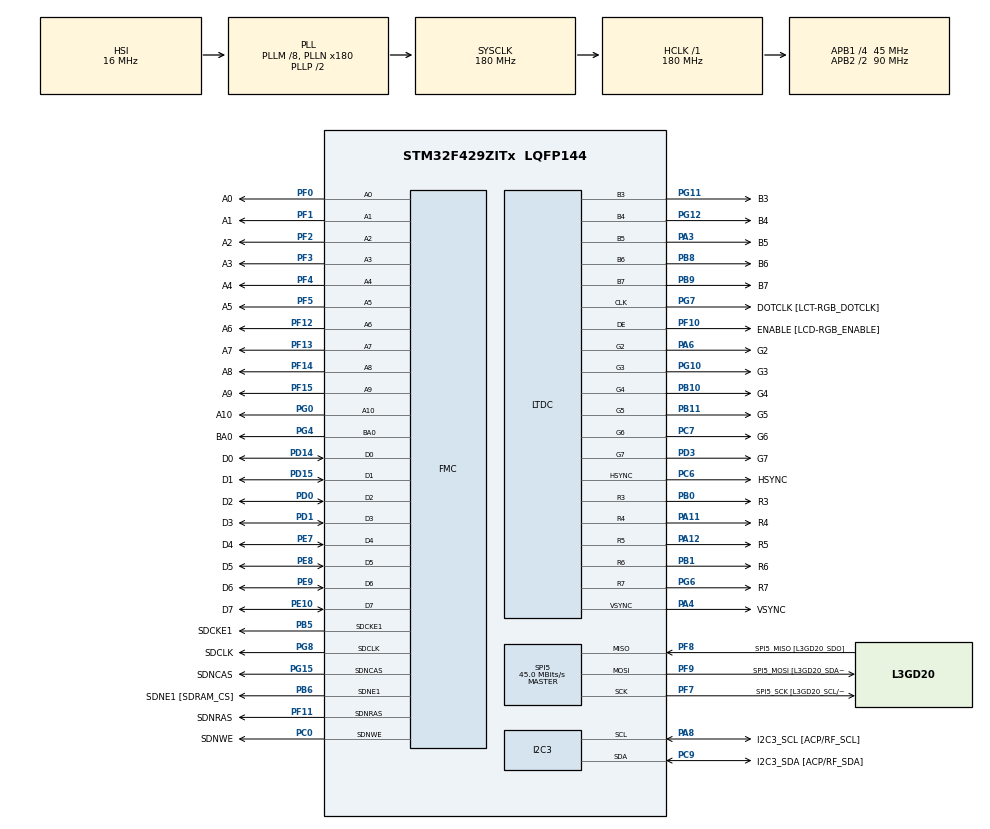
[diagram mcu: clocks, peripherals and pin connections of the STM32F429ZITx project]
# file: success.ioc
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DMA2D.ColorMode=DMA2D_OUTPUT_RGB565
LTDC.ActiveH=240
LTDC.ActiveW=320
Mcu.Family=STM32F4
Mcu.Name=STM32F429ZITx
Mcu.Package=LQFP144
NVIC.PriorityGroup=NVIC_PRIORITYGROUP_0
PA10.GPIO_Label=STLINK_TX [STM32F103CBT6_PA2]
PA10.Signal=USART1_RX
PA11.GPIO_Label=R4
PA11.GPIO_Mode=GPIO_MODE_AF_PP
PA11.GPIO_PuPd=GPIO_NOPULL
PA11.GPIO_Speed=GPIO_SPEED_FREQ_LOW
PA11.Mode=RGB565
PA11.Signal=LTDC_R4
PA12.GPIO_Label=R5
PA12.GPIO_Mode=GPIO_MODE_AF_PP
PA12.GPIO_PuPd=GPIO_NOPULL
PA12.GPIO_Speed=GPIO_SPEED_FREQ_LOW
PA12.Mode=RGB565
PA12.Signal=LTDC_R5
PA13.GPIO_Label=SWDIO
PA13.Signal=SYS_JTMS-SWDIO
PA3.GPIO_Label=B5
PA3.GPIO_Mode=GPIO_MODE_AF_PP
PA3.GPIO_PuPd=GPIO_NOPULL
PA3.GPIO_Speed=GPIO_SPEED_FREQ_LOW
PA3.Mode=RGB565
PA3.Signal=LTDC_B5
PA4.GPIO_Label=VSYNC
PA4.GPIO_Mode=GPIO_MODE_AF_PP
PA4.GPIO_PuPd=GPIO_NOPULL
PA4.GPIO_Speed=GPIO_SPEED_FREQ_LOW
PA4.Mode=RGB565
PA4.Signal=LTDC_VSYNC
PA6.GPIO_Label=G2
PA6.GPIO_Mode=GPIO_MODE_AF_PP
PA6.GPIO_PuPd=GPIO_NOPULL
PA6.GPIO_Speed=GPIO_SPEED_FREQ_LOW
PA6.Mode=RGB565
PA6.Signal=LTDC_G2
PA8.GPIO_Label=I2C3_SCL [ACP/RF_SCL]
PA8.GPIO_Mode=GPIO_MODE_AF_OD
PA8.GPIO_PuPd=GPIO_NOPULL
PA8.GPIO_Speed=GPIO_SPEED_FREQ_LOW
PA8.Mode=I2C
PA8.Signal=I2C3_SCL
PA9.GPIO_Label=STLINK_RX [STM32F103CBT6_PA3]
PA9.Signal=USART1_TX
PB0.GPIO_Label=R3
PB0.GPIO_Mode=GPIO_MODE_AF_PP
PB0.GPIO_PuPd=GPIO_NOPULL
PB0.GPIO_Speed=GPIO_SPEED_FREQ_LOW
PB0.Mode=RGB565
PB0.Signal=LTDC_R3
PB1.GPIO_Label=R6
PB1.GPIO_Mode=GPIO_MODE_AF_PP
PB1.GPIO_PuPd=GPIO_NOPULL
PB1.GPIO_Speed=GPIO_SPEED_FREQ_LOW
PB1.Mode=RGB565
PB1.Signal=LTDC_R6
PB10.GPIO_Label=G4
PB10.GPIO_Mode=GPIO_MODE_AF_PP
PB10.GPIO_PuPd=GPIO_NOPULL
PB10.GPIO_Speed=GPIO_SPEED_FREQ_LOW
PB10.Mode=RGB565
PB10.Signal=LTDC_G4
PB11.GPIO_Label=G5
PB11.GPIO_Mode=GPIO_MODE_AF_PP
PB11.GPIO_PuPd=GPIO_NOPULL
PB11.GPIO_Speed=GPIO_SPEED_FREQ_LOW
PB11.Mode=RGB565
PB11.Signal=LTDC_G5
PB5.GPIO_Label=SDCKE1
PB5.GPIO_Mode=GPIO_MODE_AF_PP
PB5.GPIO_PuPd=GPIO_NOPULL
PB5.GPIO_Speed=GPIO_SPEED_FREQ_VERY_HIGH
PB5.Mode=SdramChipSelect2_1
PB5.Signal=FMC_SDCKE1
PB6.GPIO_Label=SDNE1 [SDRAM_CS]
PB6.GPIO_Mode=GPIO_MODE_AF_PP
PB6.GPIO_PuPd=GPIO_NOPULL
PB6.GPIO_Speed=GPIO_SPEED_FREQ_VERY_HIGH
PB6.Mode=SdramChipSelect2_1
PB6.Signal=FMC_SDNE1
PB8.GPIO_Label=B6
PB8.GPIO_Mode=GPIO_MODE_AF_PP
PB8.GPIO_PuPd=GPIO_NOPULL
PB8.GPIO_Speed=GPIO_SPEED_FREQ_LOW
PB8.Mode=RGB565
PB8.Signal=LTDC_B6
PB9.GPIO_Label=B7
PB9.GPIO_Mode=GPIO_MODE_AF_PP
PB9.GPIO_PuPd=GPIO_NOPULL
PB9.GPIO_Speed=GPIO_SPEED_FREQ_LOW
PB9.Mode=RGB565
PB9.Signal=LTDC_B7
PC0.GPIO_Label=SDNWE
PC0.GPIO_Mode=GPIO_MODE_AF_PP
PC0.GPIO_PuPd=GPIO_NOPULL
PC0.GPIO_Speed=GPIO_SPEED_FREQ_VERY_HIGH
PC0.Signal=FMC_SDNWE
PC6.GPIO_Label=HSYNC
PC6.GPIO_Mode=GPIO_MODE_AF_PP
PC6.GPIO_PuPd=GPIO_NOPULL
PC6.GPIO_Speed=GPIO_SPEED_FREQ_LOW
PC6.Mode=RGB565
PC6.Signal=LTDC_HSYNC
PC7.GPIO_Label=G6
PC7.GPIO_Mode=GPIO_MODE_AF_PP
PC7.GPIO_PuPd=GPIO_NOPULL
PC7.GPIO_Speed=GPIO_SPEED_FREQ_LOW
PC7.Mode=RGB565
PC7.Signal=LTDC_G6
PC9.GPIO_Label=I2C3_SDA [ACP/RF_SDA]
PC9.GPIO_Mode=GPIO_MODE_AF_OD
PC9.GPIO_PuPd=GPIO_NOPULL
PC9.GPIO_Speed=GPIO_SPEED_FREQ_LOW
PC9.Mode=I2C
PC9.Signal=I2C3_SDA
PD0.GPIO_Label=D2
PD0.GPIO_Mode=GPIO_MODE_AF_PP
PD0.GPIO_PuPd=GPIO_NOPULL
PD0.GPIO_Speed=GPIO_SPEED_FREQ_VERY_HIGH
PD0.Signal=FMC_D2_DA2
PD1.GPIO_Label=D3
PD1.GPIO_Mode=GPIO_MODE_AF_PP
PD1.GPIO_PuPd=GPIO_NOPULL
PD1.GPIO_Speed=GPIO_SPEED_FREQ_VERY_HIGH
PD1.Signal=FMC_D3_DA3
PD14.GPIO_Label=D0
PD14.GPIO_Mode=GPIO_MODE_AF_PP
PD14.GPIO_PuPd=GPIO_NOPULL
PD14.GPIO_Speed=GPIO_SPEED_FREQ_VERY_HIGH
PD14.Signal=FMC_D0_DA0
PD15.GPIO_Label=D1
PD15.GPIO_Mode=GPIO_MODE_AF_PP
PD15.GPIO_PuPd=GPIO_NOPULL
PD15.GPIO_Speed=GPIO_SPEED_FREQ_VERY_HIGH
PD15.Signal=FMC_D1_DA1
PD3.GPIO_Label=G7
PD3.GPIO_Mode=GPIO_MODE_AF_PP
PD3.GPIO_PuPd=GPIO_NOPULL
PD3.GPIO_Speed=GPIO_SPEED_FREQ_LOW
PD3.Mode=RGB565
PD3.Signal=LTDC_G7
PE10.GPIO_Label=D7
PE10.GPIO_Mode=GPIO_MODE_AF_PP
PE10.GPIO_PuPd=GPIO_NOPULL
PE10.GPIO_Speed=GPIO_SPEED_FREQ_VERY_HIGH
PE10.Signal=FMC_D7_DA7
PE7.GPIO_Label=D4
PE7.GPIO_Mode=GPIO_MODE_AF_PP
PE7.GPIO_PuPd=GPIO_NOPULL
PE7.GPIO_Speed=GPIO_SPEED_FREQ_VERY_HIGH
PE7.Signal=FMC_D4_DA4
PE8.GPIO_Label=D5
PE8.GPIO_Mode=GPIO_MODE_AF_PP
PE8.GPIO_PuPd=GPIO_NOPULL
PE8.GPIO_Speed=GPIO_SPEED_FREQ_VERY_HIGH
PE8.Signal=FMC_D5_DA5
PE9.GPIO_Label=D6
PE9.GPIO_Mode=GPIO_MODE_AF_PP
PE9.GPIO_PuPd=GPIO_NOPULL
PE9.GPIO_Speed=GPIO_SPEED_FREQ_VERY_HIGH
PE9.Signal=FMC_D6_DA6
PF0.GPIO_Label=A0
PF0.GPIO_Mode=GPIO_MODE_AF_PP
PF0.GPIO_PuPd=GPIO_NOPULL
PF0.GPIO_Speed=GPIO_SPEED_FREQ_VERY_HIGH
PF0.Signal=FMC_A0
PF1.GPIO_Label=A1
PF1.GPIO_Mode=GPIO_MODE_AF_PP
PF1.GPIO_PuPd=GPIO_NOPULL
PF1.GPIO_Speed=GPIO_SPEED_FREQ_VERY_HIGH
PF1.Signal=FMC_A1
PF10.GPIO_Label=ENABLE [LCD-RGB_ENABLE]
PF10.GPIO_Mode=GPIO_MODE_AF_PP
PF10.GPIO_PuPd=GPIO_NOPULL
PF10.GPIO_Speed=GPIO_SPEED_FREQ_LOW
PF10.Mode=RGB565
PF10.Signal=LTDC_DE
PF11.GPIO_Label=SDNRAS
PF11.GPIO_Mode=GPIO_MODE_AF_PP
PF11.GPIO_PuPd=GPIO_NOPULL
PF11.GPIO_Speed=GPIO_SPEED_FREQ_VERY_HIGH
PF11.Signal=FMC_SDNRAS
PF12.GPIO_Label=A6
PF12.GPIO_Mode=GPIO_MODE_AF_PP
PF12.GPIO_PuPd=GPIO_NOPULL
PF12.GPIO_Speed=GPIO_SPEED_FREQ_VERY_HIGH
PF12.Signal=FMC_A6
PF13.GPIO_Label=A7
PF13.GPIO_Mode=GPIO_MODE_AF_PP
PF13.GPIO_PuPd=GPIO_NOPULL
PF13.GPIO_Speed=GPIO_SPEED_FREQ_VERY_HIGH
PF13.Signal=FMC_A7
PF14.GPIO_Label=A8
PF14.GPIO_Mode=GPIO_MODE_AF_PP
PF14.GPIO_PuPd=GPIO_NOPULL
PF14.GPIO_Speed=GPIO_SPEED_FREQ_VERY_HIGH
PF14.Signal=FMC_A8
PF15.GPIO_Label=A9
PF15.GPIO_Mode=GPIO_MODE_AF_PP
PF15.GPIO_PuPd=GPIO_NOPULL
PF15.GPIO_Speed=GPIO_SPEED_FREQ_VERY_HIGH
PF15.Signal=FMC_A9
PF2.GPIO_Label=A2
PF2.GPIO_Mode=GPIO_MODE_AF_PP
PF2.GPIO_PuPd=GPIO_NOPULL
PF2.GPIO_Speed=GPIO_SPEED_FREQ_VERY_HIGH
PF2.Signal=FMC_A2
PF3.GPIO_Label=A3
PF3.GPIO_Mode=GPIO_MODE_AF_PP
PF3.GPIO_PuPd=GPIO_NOPULL
PF3.GPIO_Speed=GPIO_SPEED_FREQ_VERY_HIGH
PF3.Signal=FMC_A3
PF4.GPIO_Label=A4
PF4.GPIO_Mode=GPIO_MODE_AF_PP
PF4.GPIO_PuPd=GPIO_NOPULL
PF4.GPIO_Speed=GPIO_SPEED_FREQ_VERY_HIGH
PF4.Signal=FMC_A4
PF5.GPIO_Label=A5
PF5.GPIO_Mode=GPIO_MODE_AF_PP
PF5.GPIO_PuPd=GPIO_NOPULL
PF5.GPIO_Speed=GPIO_SPEED_FREQ_VERY_HIGH
PF5.Signal=FMC_A5
PF7.GPIO_Label=SPI5_SCK [L3GD20_SCL/SPC]
PF7.GPIO_Mode=GPIO_MODE_AF_PP
PF7.GPIO_PuPd=GPIO_NOPULL
PF7.GPIO_Speed=GPIO_SPEED_FREQ_LOW
PF7.Mode=Full_Duplex_Master
PF7.Signal=SPI5_SCK
PF8.GPIO_Label=SPI5_MISO [L3GD20_SDO]
PF8.GPIO_Mode=GPIO_MODE_AF_PP
PF8.GPIO_PuPd=GPIO_NOPULL
PF8.GPIO_Speed=GPIO_SPEED_FREQ_LOW
PF8.Mode=Full_Duplex_Master
PF8.Signal=SPI5_MISO
PF9.GPIO_Label=SPI5_MOSI [L3GD20_SDA/SDI/SDO]
PF9.GPIO_Mode=GPIO_MODE_AF_PP
PF9.GPIO_PuPd=GPIO_NOPULL
PF9.GPIO_Speed=GPIO_SPEED_FREQ_LOW
PF9.Mode=Full_Duplex_Master
PF9.Signal=SPI5_MOSI
PG0.GPIO_Label=A10
PG0.GPIO_Mode=GPIO_MODE_AF_PP
PG0.GPIO_PuPd=GPIO_NOPULL
PG0.GPIO_Speed=GPIO_SPEED_FREQ_VERY_HIGH
PG0.Signal=FMC_A10
PG10.GPIO_Label=G3
PG10.GPIO_Mode=GPIO_MODE_AF_PP
PG10.GPIO_PuPd=GPIO_NOPULL
PG10.GPIO_Speed=GPIO_SPEED_FREQ_LOW
PG10.Mode=RGB565
PG10.Signal=LTDC_G3
PG11.GPIO_Label=B3
PG11.GPIO_Mode=GPIO_MODE_AF_PP
PG11.GPIO_PuPd=GPIO_NOPULL
PG11.GPIO_Speed=GPIO_SPEED_FREQ_LOW
PG11.Mode=RGB565
PG11.Signal=LTDC_B3
PG12.GPIO_Label=B4
PG12.GPIO_Mode=GPIO_MODE_AF_PP
PG12.GPIO_PuPd=GPIO_NOPULL
PG12.GPIO_Speed=GPIO_SPEED_FREQ_LOW
PG12.Mode=RGB565
PG12.Signal=LTDC_B4
PG15.GPIO_Label=SDNCAS
PG15.GPIO_Mode=GPIO_MODE_AF_PP
PG15.GPIO_PuPd=GPIO_NOPULL
PG15.GPIO_Speed=GPIO_SPEED_FREQ_VERY_HIGH
PG15.Signal=FMC_SDNCAS
PG4.GPIO_Label=BA0
PG4.GPIO_Mode=GPIO_MODE_AF_PP
PG4.GPIO_PuPd=GPIO_NOPULL
PG4.GPIO_Speed=GPIO_SPEED_FREQ_VERY_HIGH
PG4.Signal=FMC_A14_BA0
PG6.GPIO_Label=R7
PG6.GPIO_Mode=GPIO_MODE_AF_PP
PG6.GPIO_PuPd=GPIO_NOPULL
PG6.GPIO_Speed=GPIO_SPEED_FREQ_LOW
PG6.Mode=RGB565
PG6.Signal=LTDC_R7
PG7.GPIO_Label=DOTCLK [LCT-RGB_DOTCLK]
PG7.GPIO_Mode=GPIO_MODE_AF_PP
PG7.GPIO_PuPd=GPIO_NOPULL
PG7.GPIO_Speed=GPIO_SPEED_FREQ_LOW
PG7.Mode=RGB565
PG7.Signal=LTDC_CLK
PG8.GPIO_Label=SDCLK
PG8.GPIO_Mode=GPIO_MODE_AF_PP
PG8.GPIO_PuPd=GPIO_NOPULL
PG8.GPIO_Speed=GPIO_SPEED_FREQ_VERY_HIGH
PG8.Signal=FMC_SDCLK
ProjectManager.HeapSize=0x200
ProjectManager.StackSize=0x400
ProjectManager.TargetToolchain=STM32CubeIDE
RCC.48MHZClocksFreq_Value=51428571.428571425
RCC.AHBFreq_Value=180000000
RCC.APB1CLKDivider=RCC_HCLK_DIV4
RCC.APB1Freq_Value=45000000
RCC.APB1TimFreq_Value=90000000
RCC.APB2CLKDivider=RCC_HCLK_DIV2
RCC.APB2Freq_Value=90000000
RCC.APB2TimFreq_Value=180000000
RCC.CortexFreq_Value=180000000
RCC.HCLKFreq_Value=180000000
RCC.HSE_VALUE=8000000
RCC.HSI_VALUE=16000000
RCC.LSE_VALUE=32768
RCC.PLLM=8
RCC.PLLN=180
RCC.PLLQ=7
RCC.PLLSAIN=50
RCC.PLLSAIR=4
RCC.SYSCLKFreq_VALUE=180000000
RCC.SYSCLKSource=RCC_SYSCLKSOURCE_PLLCLK
RCC.VCOOutputFreq_Value=360000000
SH.FMC_A0.0=FMC_A0,11b-sda1
SH.FMC_A1.0=FMC_A1,11b-sda1
SH.FMC_A10.0=FMC_A10,11b-sda1
SH.FMC_A14_BA0.0=FMC_BA0,TwoSdramBanks1
SH.FMC_A2.0=FMC_A2,11b-sda1
SH.FMC_A3.0=FMC_A3,11b-sda1
SH.FMC_A4.0=FMC_A4,11b-sda1
SH.FMC_A5.0=FMC_A5,11b-sda1
SH.FMC_A6.0=FMC_A6,11b-sda1
SH.FMC_A7.0=FMC_A7,11b-sda1
SH.FMC_A8.0=FMC_A8,11b-sda1
SH.FMC_A9.0=FMC_A9,11b-sda1
SH.FMC_D0_DA0.0=FMC_D0,sd-8b-d1
SH.FMC_D1_DA1.0=FMC_D1,sd-8b-d1
SH.FMC_D2_DA2.0=FMC_D2,sd-8b-d1
SH.FMC_D3_DA3.0=FMC_D3,sd-8b-d1
SH.FMC_D4_DA4.0=FMC_D4,sd-8b-d1
SH.FMC_D5_DA5.0=FMC_D5,sd-8b-d1
SH.FMC_D6_DA6.0=FMC_D6,sd-8b-d1
SH.FMC_D7_DA7.0=FMC_D7,sd-8b-d1
SH.FMC_SDCLK.0=FMC_SDCLK,11b-sda1
SH.FMC_SDNCAS.0=FMC_SDNCAS,11b-sda1
SH.FMC_SDNRAS.0=FMC_SDNRAS,11b-sda1
SH.FMC_SDNWE.0=FMC_SDNWE,11b-sda1
SPI5.BaudRatePrescaler=SPI_BAUDRATEPRESCALER_2
SPI5.CalculateBaudRate=45.0 MBits/s
SPI5.Direction=SPI_DIRECTION_2LINES
SPI5.Mode=SPI_MODE_MASTER
SPI5.VirtualType=VM_MASTER
VP_DMA2D_VS_DMA2D.Mode=DMA2D_Activate
board=STM32F429I-DISC1

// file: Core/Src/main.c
/* USER CODE BEGIN Header */
/**
  ******************************************************************************
  * @file           : main.c
  * @brief          : Main program body
  ******************************************************************************
  * @attention
  *
  * Copyright (c) 2023 STMicroelectronics.
  * All rights reserved.
  *
  * This software is licensed under terms that can be found in the LICENSE file
  * in the root directory of this software component.
  * If no LICENSE file comes with this software, it is provided AS-IS.
  *
  ******************************************************************************
  */
/* USER CODE END Header */
#include "main.h"

/* USER CODE BEGIN Includes */
#include "lcd.h"
#include "stm32f429i_discovery_lcd.h"

/* USER CODE END Includes */

DMA2D_HandleTypeDef hdma2d;

I2C_HandleTypeDef hi2c3;

LTDC_HandleTypeDef hltdc;

SPI_HandleTypeDef hspi5;

SDRAM_HandleTypeDef hsdram1;

void SystemClock_Config(void);
static void MX_GPIO_Init(void);
static void MX_DMA2D_Init(void);
static void MX_I2C3_Init(void);
static void MX_LTDC_Init(void);
static void MX_SPI5_Init(void);
static void MX_FMC_Init(void);

int main(void)
{

  /* MCU Configuration--------------------------------------------------------*/

  /* Reset of all peripherals, Initializes the Flash interface and the Systick. */
  HAL_Init();

  /* Configure the system clock */
  SystemClock_Config();

  /* Initialize all configured peripherals */
  MX_GPIO_Init();
  MX_DMA2D_Init();
  MX_I2C3_Init();
  MX_LTDC_Init();
  MX_SPI5_Init();
  MX_FMC_Init();
  /* USER CODE BEGIN 2 */

  //uint32_t x= BSP_LCD_GetXSize();
  //uint32_t y= BSP_LCD_GetYSize();
  //BSP_LCD_DrawRect(x/2, y/2, x/4,y/4 );

  LCD_Init();

  MDL_LCD_Bttn_Pressed(START);

  MDL_LCD_Hit_Update(200);

  MDL_LCD_Bttn_Pressed(PLUS);
  //MDL_LCD_Bttn_Pressed(PLUS);
  for(int i=0; i<2; i++){
	  if(i==1) MDL_LCD_Bttn_Pressed(PLUS);
	  if(i==2) MDL_LCD_Bttn_Pressed(PLUS);
	  MDL_LCD_Hit_Update(200);
	  MDL_LCD_Bttn_Pressed(START);
	  MDL_LCD_Hit_Update(200);
	  HAL_Delay(1000);
	  MDL_LCD_Hit_Update(300);
	  HAL_Delay(1000);
	  MDL_LCD_Bttn_Pressed(TOCI);
	  HAL_Delay(1000);
	  MDL_LCD_Hit_Update(150);
	  HAL_Delay(1000);
	  MDL_LCD_Bttn_Pressed(TOCI);
	  HAL_Delay(1000);
	  MDL_LCD_Hit_Update(50);
	  HAL_Delay(1000);
	  MDL_LCD_Bttn_Pressed(TOCI);
	  MDL_LCD_Hit_Update(300);
	  HAL_Delay(1000);
	  MDL_LCD_Hit_Update(200);

  }

  /* USER CODE END 2 */

  /* Infinite loop */
  /* USER CODE BEGIN WHILE */
  while (1)
  {

	  //BSP_LCD_SetTextColor(LCD_COLOR_DARKGRAY);
	  //BSP_LCD_DisplayStringAtLine(1,(uint8_t *)"pliz");
	  //BSP_LCD_SetTextColor(LCD_COLOR_DARKGRAY);
	  //BSP_LCD_DisplayStringAtLine(5,(uint8_t *)"radi");
	  //HAL_Delay(1000);
	  //BSP_LCD_Clear(LCD_COLOR_MAGENTA);
	  //HAL_Delay(1000);

    /* USER CODE END WHILE */

  }
}

void SystemClock_Config(void)
{
  RCC_OscInitTypeDef RCC_OscInitStruct = {0};
  RCC_ClkInitTypeDef RCC_ClkInitStruct = {0};

  /** Configure the main internal regulator output voltage
  */
  __HAL_RCC_PWR_CLK_ENABLE();
  __HAL_PWR_VOLTAGESCALING_CONFIG(PWR_REGULATOR_VOLTAGE_SCALE1);
  /** Initializes the RCC Oscillators according to the specified parameters
  * in the RCC_OscInitTypeDef structure.
  */
  RCC_OscInitStruct.OscillatorType = RCC_OSCILLATORTYPE_HSI;
  RCC_OscInitStruct.HSIState = RCC_HSI_ON;
  RCC_OscInitStruct.HSICalibrationValue = RCC_HSICALIBRATION_DEFAULT;
  RCC_OscInitStruct.PLL.PLLState = RCC_PLL_ON;
  RCC_OscInitStruct.PLL.PLLSource = RCC_PLLSOURCE_HSI;
  RCC_OscInitStruct.PLL.PLLM = 8;
  RCC_OscInitStruct.PLL.PLLN = 180;
  RCC_OscInitStruct.PLL.PLLP = RCC_PLLP_DIV2;
  RCC_OscInitStruct.PLL.PLLQ = 7;
  if (HAL_RCC_OscConfig(&RCC_OscInitStruct) != HAL_OK)
  {
    Error_Handler();
  }
  /** Activate the Over-Drive mode
  */
  if (HAL_PWREx_EnableOverDrive() != HAL_OK)
  {
    Error_Handler();
  }
  /** Initializes the CPU, AHB and APB buses clocks
  */
  RCC_ClkInitStruct.ClockType = RCC_CLOCKTYPE_HCLK|RCC_CLOCKTYPE_SYSCLK
                              |RCC_CLOCKTYPE_PCLK1|RCC_CLOCKTYPE_PCLK2;
  RCC_ClkInitStruct.SYSCLKSource = RCC_SYSCLKSOURCE_PLLCLK;
  RCC_ClkInitStruct.AHBCLKDivider = RCC_SYSCLK_DIV1;
  RCC_ClkInitStruct.APB1CLKDivider = RCC_HCLK_DIV4;
  RCC_ClkInitStruct.APB2CLKDivider = RCC_HCLK_DIV2;

  if (HAL_RCC_ClockConfig(&RCC_ClkInitStruct, FLASH_LATENCY_5) != HAL_OK)
  {
    Error_Handler();
  }
}

static void MX_DMA2D_Init(void)
{

  hdma2d.Instance = DMA2D;
  hdma2d.Init.Mode = DMA2D_M2M;
  hdma2d.Init.ColorMode = DMA2D_OUTPUT_RGB565;
  hdma2d.Init.OutputOffset = 0;
  hdma2d.LayerCfg[1].InputOffset = 0;
  hdma2d.LayerCfg[1].InputColorMode = DMA2D_INPUT_RGB565;
  hdma2d.LayerCfg[1].AlphaMode = DMA2D_NO_MODIF_ALPHA;
  hdma2d.LayerCfg[1].InputAlpha = 0;
  if (HAL_DMA2D_Init(&hdma2d) != HAL_OK)
  {
    Error_Handler();
  }
  if (HAL_DMA2D_ConfigLayer(&hdma2d, 1) != HAL_OK)
  {
    Error_Handler();
  }

}

static void MX_I2C3_Init(void)
{

  hi2c3.Instance = I2C3;
  hi2c3.Init.ClockSpeed = 100000;
  hi2c3.Init.DutyCycle = I2C_DUTYCYCLE_2;
  hi2c3.Init.OwnAddress1 = 0;
  hi2c3.Init.AddressingMode = I2C_ADDRESSINGMODE_7BIT;
  hi2c3.Init.DualAddressMode = I2C_DUALADDRESS_DISABLE;
  hi2c3.Init.OwnAddress2 = 0;
  hi2c3.Init.GeneralCallMode = I2C_GENERALCALL_DISABLE;
  hi2c3.Init.NoStretchMode = I2C_NOSTRETCH_DISABLE;
  if (HAL_I2C_Init(&hi2c3) != HAL_OK)
  {
    Error_Handler();
  }
  /** Configure Analogue filter
  */
  if (HAL_I2CEx_ConfigAnalogFilter(&hi2c3, I2C_ANALOGFILTER_ENABLE) != HAL_OK)
  {
    Error_Handler();
  }
  /** Configure Digital filter
  */
  if (HAL_I2CEx_ConfigDigitalFilter(&hi2c3, 0) != HAL_OK)
  {
    Error_Handler();
  }

}

static void MX_LTDC_Init(void)
{

  LTDC_LayerCfgTypeDef pLayerCfg = {0};
  LTDC_LayerCfgTypeDef pLayerCfg1 = {0};

  hltdc.Instance = LTDC;
  hltdc.Init.HSPolarity = LTDC_HSPOLARITY_AL;
  hltdc.Init.VSPolarity = LTDC_VSPOLARITY_AL;
  hltdc.Init.DEPolarity = LTDC_DEPOLARITY_AL;
  hltdc.Init.PCPolarity = LTDC_PCPOLARITY_IPC;
  hltdc.Init.HorizontalSync = 7;
  hltdc.Init.VerticalSync = 3;
  hltdc.Init.AccumulatedHBP = 14;
  hltdc.Init.AccumulatedVBP = 5;
  hltdc.Init.AccumulatedActiveW = 334;
  hltdc.Init.AccumulatedActiveH = 245;
  hltdc.Init.TotalWidth = 340;
  hltdc.Init.TotalHeigh = 247;
  hltdc.Init.Backcolor.Blue = 0;
  hltdc.Init.Backcolor.Green = 0;
  hltdc.Init.Backcolor.Red = 0;
  if (HAL_LTDC_Init(&hltdc) != HAL_OK)
  {
    Error_Handler();
  }
  pLayerCfg.WindowX0 = 0;
  pLayerCfg.WindowX1 = 0;
  pLayerCfg.WindowY0 = 0;
  pLayerCfg.WindowY1 = 0;
  pLayerCfg.PixelFormat = LTDC_PIXEL_FORMAT_ARGB8888;
  pLayerCfg.Alpha = 0;
  pLayerCfg.Alpha0 = 0;
  pLayerCfg.BlendingFactor1 = LTDC_BLENDING_FACTOR1_CA;
  pLayerCfg.BlendingFactor2 = LTDC_BLENDING_FACTOR2_CA;
  pLayerCfg.FBStartAdress = 0;
  pLayerCfg.ImageWidth = 0;
  pLayerCfg.ImageHeight = 0;
  pLayerCfg.Backcolor.Blue = 0;
  pLayerCfg.Backcolor.Green = 0;
  pLayerCfg.Backcolor.Red = 0;
  if (HAL_LTDC_ConfigLayer(&hltdc, &pLayerCfg, 0) != HAL_OK)
  {
    Error_Handler();
  }
  pLayerCfg1.WindowX0 = 0;
  pLayerCfg1.WindowX1 = 0;
  pLayerCfg1.WindowY0 = 0;
  pLayerCfg1.WindowY1 = 0;
  pLayerCfg1.PixelFormat = LTDC_PIXEL_FORMAT_ARGB8888;
  pLayerCfg1.Alpha = 0;
  pLayerCfg1.Alpha0 = 0;
  pLayerCfg1.BlendingFactor1 = LTDC_BLENDING_FACTOR1_CA;
  pLayerCfg1.BlendingFactor2 = LTDC_BLENDING_FACTOR2_CA;
  pLayerCfg1.FBStartAdress = 0;
  pLayerCfg1.ImageWidth = 0;
  pLayerCfg1.ImageHeight = 0;
  pLayerCfg1.Backcolor.Blue = 0;
  pLayerCfg1.Backcolor.Green = 0;
  pLayerCfg1.Backcolor.Red = 0;
  if (HAL_LTDC_ConfigLayer(&hltdc, &pLayerCfg1, 1) != HAL_OK)
  {
    Error_Handler();
  }

}

static void MX_SPI5_Init(void)
{

  /* SPI5 parameter configuration*/
  hspi5.Instance = SPI5;
  hspi5.Init.Mode = SPI_MODE_MASTER;
  hspi5.Init.Direction = SPI_DIRECTION_2LINES;
  hspi5.Init.DataSize = SPI_DATASIZE_8BIT;
  hspi5.Init.CLKPolarity = SPI_POLARITY_LOW;
  hspi5.Init.CLKPhase = SPI_PHASE_1EDGE;
  hspi5.Init.NSS = SPI_NSS_SOFT;
  hspi5.Init.BaudRatePrescaler = SPI_BAUDRATEPRESCALER_2;
  hspi5.Init.FirstBit = SPI_FIRSTBIT_MSB;
  hspi5.Init.TIMode = SPI_TIMODE_DISABLE;
  hspi5.Init.CRCCalculation = SPI_CRCCALCULATION_DISABLE;
  hspi5.Init.CRCPolynomial = 10;
  if (HAL_SPI_Init(&hspi5) != HAL_OK)
  {
    Error_Handler();
  }

}

/* FMC initialization function */
static void MX_FMC_Init(void)
{

  FMC_SDRAM_TimingTypeDef SdramTiming = {0};

  /** Perform the SDRAM1 memory initialization sequence
  */
  hsdram1.Instance = FMC_SDRAM_DEVICE;
  /* hsdram1.Init */
  hsdram1.Init.SDBank = FMC_SDRAM_BANK2;
  hsdram1.Init.ColumnBitsNumber = FMC_SDRAM_COLUMN_BITS_NUM_8;
  hsdram1.Init.RowBitsNumber = FMC_SDRAM_ROW_BITS_NUM_11;
  hsdram1.Init.MemoryDataWidth = FMC_SDRAM_MEM_BUS_WIDTH_8;
  hsdram1.Init.InternalBankNumber = FMC_SDRAM_INTERN_BANKS_NUM_2;
  hsdram1.Init.CASLatency = FMC_SDRAM_CAS_LATENCY_1;
  hsdram1.Init.WriteProtection = FMC_SDRAM_WRITE_PROTECTION_DISABLE;
  hsdram1.Init.SDClockPeriod = FMC_SDRAM_CLOCK_DISABLE;
  hsdram1.Init.ReadBurst = FMC_SDRAM_RBURST_DISABLE;
  hsdram1.Init.ReadPipeDelay = FMC_SDRAM_RPIPE_DELAY_0;
  /* SdramTiming */
  SdramTiming.LoadToActiveDelay = 16;
  SdramTiming.ExitSelfRefreshDelay = 16;
  SdramTiming.SelfRefreshTime = 16;
  SdramTiming.RowCycleDelay = 16;
  SdramTiming.WriteRecoveryTime = 16;
  SdramTiming.RPDelay = 16;
  SdramTiming.RCDDelay = 16;

  if (HAL_SDRAM_Init(&hsdram1, &SdramTiming) != HAL_OK)
  {
    Error_Handler( );
  }

}

static void MX_GPIO_Init(void)
{
  GPIO_InitTypeDef GPIO_InitStruct = {0};

  /* GPIO Ports Clock Enable */
  __HAL_RCC_GPIOF_CLK_ENABLE();
  __HAL_RCC_GPIOC_CLK_ENABLE();
  __HAL_RCC_GPIOA_CLK_ENABLE();
  __HAL_RCC_GPIOB_CLK_ENABLE();
  __HAL_RCC_GPIOG_CLK_ENABLE();
  __HAL_RCC_GPIOE_CLK_ENABLE();
  __HAL_RCC_GPIOD_CLK_ENABLE();

  /*Configure GPIO pins : STLINK_RX_Pin STLINK_TX_Pin */
  GPIO_InitStruct.Pin = STLINK_RX_Pin|STLINK_TX_Pin;
  GPIO_InitStruct.Mode = GPIO_MODE_AF_PP;
  GPIO_InitStruct.Pull = GPIO_NOPULL;
  GPIO_InitStruct.Speed = GPIO_SPEED_FREQ_VERY_HIGH;
  GPIO_InitStruct.Alternate = GPIO_AF7_USART1;
  HAL_GPIO_Init(GPIOA, &GPIO_InitStruct);

}

void Error_Handler(void)
{
  __disable_irq();
  while (1)
  {
  }
}
